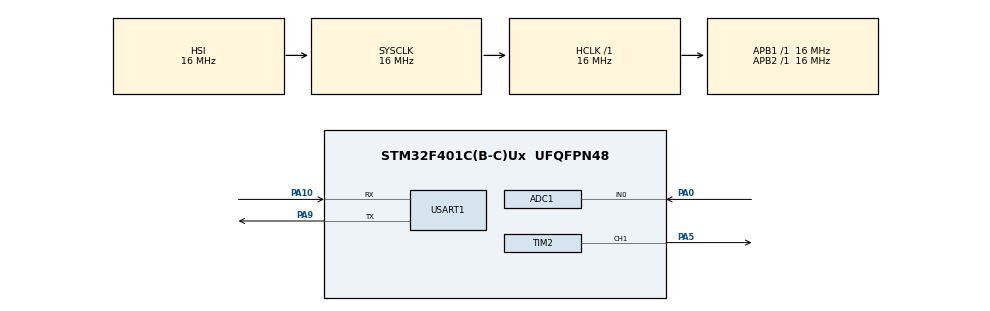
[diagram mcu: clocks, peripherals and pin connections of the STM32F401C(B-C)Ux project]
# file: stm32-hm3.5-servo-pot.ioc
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ADC1.Channel-0\#ChannelRegularConversion=ADC_CHANNEL_0
ADC1.ClockPrescaler=ADC_CLOCK_SYNC_PCLK_DIV4
ADC1.ContinuousConvMode=ENABLE
ADC1.DMAContinuousRequests=ENABLE
ADC1.NbrOfConversionFlag=1
ADC1.Rank-0\#ChannelRegularConversion=1
ADC1.SamplingTime-0\#ChannelRegularConversion=ADC_SAMPLETIME_84CYCLES
ADC1.master=1
Dma.ADC1.0.Direction=DMA_PERIPH_TO_MEMORY
Dma.ADC1.0.FIFOMode=DMA_FIFOMODE_DISABLE
Dma.ADC1.0.Instance=DMA2_Stream0
Dma.ADC1.0.MemDataAlignment=DMA_MDATAALIGN_HALFWORD
Dma.ADC1.0.MemInc=DMA_MINC_ENABLE
Dma.ADC1.0.Mode=DMA_CIRCULAR
Dma.ADC1.0.PeriphDataAlignment=DMA_PDATAALIGN_HALFWORD
Dma.ADC1.0.PeriphInc=DMA_PINC_DISABLE
Dma.ADC1.0.Priority=DMA_PRIORITY_LOW
Dma.Request0=ADC1
Mcu.Family=STM32F4
Mcu.Name=STM32F401C(B-C)Ux
Mcu.Package=UFQFPN48
NVIC.DMA2_Stream0_IRQn=true\:0\:0\:false\:false\:true\:false\:true\:true
NVIC.PriorityGroup=NVIC_PRIORITYGROUP_4
PA0-WKUP.Signal=ADCx_IN0
PA10.Mode=Asynchronous
PA10.Signal=USART1_RX
PA5.Signal=S_TIM2_CH1_ETR
PA9.Mode=Asynchronous
PA9.Signal=USART1_TX
ProjectManager.HeapSize=0x200
ProjectManager.StackSize=0x400
ProjectManager.TargetToolchain=STM32CubeIDE
RCC.AHBFreq_Value=16000000
RCC.APB1Freq_Value=16000000
RCC.APB2Freq_Value=16000000
RCC.CortexFreq_Value=16000000
RCC.HSE_VALUE=25000000
RCC.HSI_VALUE=16000000
RCC.LSE_VALUE=32768
RCC.SYSCLKFreq_VALUE=16000000
RCC.VCOOutputFreq_Value=192000000
SH.ADCx_IN0.0=ADC1_IN0,IN0
SH.S_TIM2_CH1_ETR.0=TIM2_CH1,PWM Generation1 CH1
TIM2.Channel-PWM\ Generation1\ CH1=TIM_CHANNEL_1
TIM2.Period=19999
TIM2.Prescaler=15
USART1.VirtualMode=VM_ASYNC
board=custom

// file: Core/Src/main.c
/* USER CODE BEGIN Header */
/**
  ******************************************************************************
  * @file           : main.c
  * @brief          : Main program body
  ******************************************************************************
  * @attention
  *
  * Copyright (c) 2026 STMicroelectronics.
  * All rights reserved.
  *
  * This software is licensed under terms that can be found in the LICENSE file
  * in the root directory of this software component.
  * If no LICENSE file comes with this software, it is provided AS-IS.
  *
  ******************************************************************************
  */
/* USER CODE END Header */
#include "main.h"

/* USER CODE BEGIN Includes */
#include <math.h>
#include <stdio.h>
/* USER CODE END Includes */

/* USER CODE BEGIN PD */
#define POT_MAX_ANGLE    270.0f
#define SERVO_MAX_ANGLE  180.0f
#define SERVO_MIN_PULSE_US   500     // min pulse width, 0°
#define SERVO_MAX_PULSE_US   2500    // max pulse width, 180°

#define POT_START_ANGLE ((POT_MAX_ANGLE - SERVO_MAX_ANGLE) / 2.0f) // 45.0°
#define POT_END_ANGLE   (POT_START_ANGLE + SERVO_MAX_ANGLE)        // 225.0°
#define ADC_SAMPLES      16 // Буфер DMA для усереднення
/* USER CODE END PD */

ADC_HandleTypeDef hadc1;
DMA_HandleTypeDef hdma_adc1;

TIM_HandleTypeDef htim2;

UART_HandleTypeDef huart1;

/* USER CODE BEGIN PV */

uint16_t adc_buffer[ADC_SAMPLES];

/* USER CODE END PV */

void SystemClock_Config(void);
static void MX_GPIO_Init(void);
static void MX_DMA_Init(void);
static void MX_ADC1_Init(void);
static void MX_USART1_UART_Init(void);
static void MX_TIM2_Init(void);
/* USER CODE BEGIN PFP */

uint16_t adc_raw_filtered(void);
float adc_to_pot_angle(uint16_t adc_raw);
uint32_t angle_to_ccr(float angle);

/* USER CODE END PFP */

/* USER CODE BEGIN 0 */
int __io_putchar(int ch) {
    HAL_UART_Transmit(&huart1, (uint8_t *)&ch, 1, 0xFFFF);
    return ch;
}
/* USER CODE END 0 */

int main(void)
{

  /* MCU Configuration--------------------------------------------------------*/

  /* Reset of all peripherals, Initializes the Flash interface and the Systick. */
  HAL_Init();

  /* Configure the system clock */
  SystemClock_Config();

  /* Initialize all configured peripherals */
  MX_GPIO_Init();
  MX_DMA_Init();
  MX_ADC1_Init();
  MX_USART1_UART_Init();
  MX_TIM2_Init();
  /* USER CODE BEGIN 2 */

  // start PWD for servo
  HAL_TIM_PWM_Start(&htim2, TIM_CHANNEL_1);
  // statt DMA for ADC for pot
  HAL_ADC_Start_DMA(&hadc1, (uint32_t*)adc_buffer, ADC_SAMPLES);

  /* USER CODE END 2 */

  /* Infinite loop */
  /* USER CODE BEGIN WHILE */
  float last_angle = 0;
  uint32_t last_time = 0;
  uint32_t last_ccr = 0;
  while (1)
  {
    /* USER CODE END WHILE */

    /* USER CODE BEGIN 3 */

      uint16_t adc_raw = adc_raw_filtered();
      float angle = adc_to_pot_angle(adc_raw);

      if (fabsf(angle - last_angle) > 2) {
          last_angle = angle;
          last_ccr = angle_to_ccr(angle);
          __HAL_TIM_SET_COMPARE(&htim2, TIM_CHANNEL_1, last_ccr);
      }

      uint32_t now = HAL_GetTick();
      if (now - last_time > 500) {
          last_time = now;
          printf("Angle: %d, ccr: %lu, raw: %u\r\n", (int)last_angle, last_ccr, adc_raw);
      }

      HAL_Delay(20); // 20 ms (corresponds to a servo frequency of 50 Hz)
  }
  /* USER CODE END 3 */
}

void SystemClock_Config(void)
{
  RCC_OscInitTypeDef RCC_OscInitStruct = {0};
  RCC_ClkInitTypeDef RCC_ClkInitStruct = {0};

  /** Configure the main internal regulator output voltage
  */
  __HAL_RCC_PWR_CLK_ENABLE();
  __HAL_PWR_VOLTAGESCALING_CONFIG(PWR_REGULATOR_VOLTAGE_SCALE2);

  /** Initializes the RCC Oscillators according to the specified parameters
  * in the RCC_OscInitTypeDef structure.
  */
  RCC_OscInitStruct.OscillatorType = RCC_OSCILLATORTYPE_HSI;
  RCC_OscInitStruct.HSIState = RCC_HSI_ON;
  RCC_OscInitStruct.HSICalibrationValue = RCC_HSICALIBRATION_DEFAULT;
  RCC_OscInitStruct.PLL.PLLState = RCC_PLL_NONE;
  if (HAL_RCC_OscConfig(&RCC_OscInitStruct) != HAL_OK)
  {
    Error_Handler();
  }

  /** Initializes the CPU, AHB and APB buses clocks
  */
  RCC_ClkInitStruct.ClockType = RCC_CLOCKTYPE_HCLK|RCC_CLOCKTYPE_SYSCLK
                              |RCC_CLOCKTYPE_PCLK1|RCC_CLOCKTYPE_PCLK2;
  RCC_ClkInitStruct.SYSCLKSource = RCC_SYSCLKSOURCE_HSI;
  RCC_ClkInitStruct.AHBCLKDivider = RCC_SYSCLK_DIV1;
  RCC_ClkInitStruct.APB1CLKDivider = RCC_HCLK_DIV1;
  RCC_ClkInitStruct.APB2CLKDivider = RCC_HCLK_DIV1;

  if (HAL_RCC_ClockConfig(&RCC_ClkInitStruct, FLASH_LATENCY_0) != HAL_OK)
  {
    Error_Handler();
  }
}

static void MX_ADC1_Init(void)
{

  ADC_ChannelConfTypeDef sConfig = {0};

  /** Configure the global features of the ADC (Clock, Resolution, Data Alignment and number of conversion)
  */
  hadc1.Instance = ADC1;
  hadc1.Init.ClockPrescaler = ADC_CLOCK_SYNC_PCLK_DIV4;
  hadc1.Init.Resolution = ADC_RESOLUTION_12B;
  hadc1.Init.ScanConvMode = DISABLE;
  hadc1.Init.ContinuousConvMode = ENABLE;
  hadc1.Init.DiscontinuousConvMode = DISABLE;
  hadc1.Init.ExternalTrigConvEdge = ADC_EXTERNALTRIGCONVEDGE_NONE;
  hadc1.Init.ExternalTrigConv = ADC_SOFTWARE_START;
  hadc1.Init.DataAlign = ADC_DATAALIGN_RIGHT;
  hadc1.Init.NbrOfConversion = 1;
  hadc1.Init.DMAContinuousRequests = ENABLE;
  hadc1.Init.EOCSelection = ADC_EOC_SINGLE_CONV;
  if (HAL_ADC_Init(&hadc1) != HAL_OK)
  {
    Error_Handler();
  }

  /** Configure for the selected ADC regular channel its corresponding rank in the sequencer and its sample time.
  */
  sConfig.Channel = ADC_CHANNEL_0;
  sConfig.Rank = 1;
  sConfig.SamplingTime = ADC_SAMPLETIME_84CYCLES;
  if (HAL_ADC_ConfigChannel(&hadc1, &sConfig) != HAL_OK)
  {
    Error_Handler();
  }

}

static void MX_TIM2_Init(void)
{

  TIM_MasterConfigTypeDef sMasterConfig = {0};
  TIM_OC_InitTypeDef sConfigOC = {0};

  htim2.Instance = TIM2;
  htim2.Init.Prescaler = 15;
  htim2.Init.CounterMode = TIM_COUNTERMODE_UP;
  htim2.Init.Period = 19999;
  htim2.Init.ClockDivision = TIM_CLOCKDIVISION_DIV1;
  htim2.Init.AutoReloadPreload = TIM_AUTORELOAD_PRELOAD_DISABLE;
  if (HAL_TIM_PWM_Init(&htim2) != HAL_OK)
  {
    Error_Handler();
  }
  sMasterConfig.MasterOutputTrigger = TIM_TRGO_RESET;
  sMasterConfig.MasterSlaveMode = TIM_MASTERSLAVEMODE_DISABLE;
  if (HAL_TIMEx_MasterConfigSynchronization(&htim2, &sMasterConfig) != HAL_OK)
  {
    Error_Handler();
  }
  sConfigOC.OCMode = TIM_OCMODE_PWM1;
  sConfigOC.Pulse = 0;
  sConfigOC.OCPolarity = TIM_OCPOLARITY_HIGH;
  sConfigOC.OCFastMode = TIM_OCFAST_DISABLE;
  if (HAL_TIM_PWM_ConfigChannel(&htim2, &sConfigOC, TIM_CHANNEL_1) != HAL_OK)
  {
    Error_Handler();
  }
  HAL_TIM_MspPostInit(&htim2);

}

static void MX_USART1_UART_Init(void)
{

  huart1.Instance = USART1;
  huart1.Init.BaudRate = 115200;
  huart1.Init.WordLength = UART_WORDLENGTH_8B;
  huart1.Init.StopBits = UART_STOPBITS_1;
  huart1.Init.Parity = UART_PARITY_NONE;
  huart1.Init.Mode = UART_MODE_TX_RX;
  huart1.Init.HwFlowCtl = UART_HWCONTROL_NONE;
  huart1.Init.OverSampling = UART_OVERSAMPLING_16;
  if (HAL_UART_Init(&huart1) != HAL_OK)
  {
    Error_Handler();
  }

}

static void MX_DMA_Init(void)
{

  /* DMA controller clock enable */
  __HAL_RCC_DMA2_CLK_ENABLE();

  /* DMA interrupt init */
  /* DMA2_Stream0_IRQn interrupt configuration */
  HAL_NVIC_SetPriority(DMA2_Stream0_IRQn, 0, 0);
  HAL_NVIC_EnableIRQ(DMA2_Stream0_IRQn);

}

static void MX_GPIO_Init(void)
{

  /* GPIO Ports Clock Enable */
  __HAL_RCC_GPIOA_CLK_ENABLE();

}

/* USER CODE BEGIN 4 */

uint16_t adc_raw_filtered(void) {
    uint32_t adc_sum = 0;
    for (int i = 0; i < ADC_SAMPLES; i++) {
        adc_sum += adc_buffer[i];
    }
    return (uint16_t)(adc_sum / ADC_SAMPLES);
}

float adc_to_pot_angle(uint16_t adc_raw) {
    float angle = ((float)adc_raw / 4095.0f) * POT_MAX_ANGLE;

    // cut for working zone 1:1 (45°..225°)
    if (angle < POT_START_ANGLE) {
        return 0.0f;
    } else if (angle > POT_END_ANGLE) {
        return SERVO_MAX_ANGLE;
    } else {
        return angle - POT_START_ANGLE;
    }
}

uint32_t angle_to_ccr(float angle) {
    if (angle < 0) return SERVO_MIN_PULSE_US;
    if (angle > SERVO_MAX_ANGLE) return SERVO_MAX_PULSE_US;

    float pulse_us = SERVO_MIN_PULSE_US + (angle / SERVO_MAX_ANGLE) * (SERVO_MAX_PULSE_US - SERVO_MIN_PULSE_US);
    return (uint32_t)pulse_us;
}

/* USER CODE END 4 */

void Error_Handler(void)
{
  __disable_irq();
  while (1)
  {
  }
}
